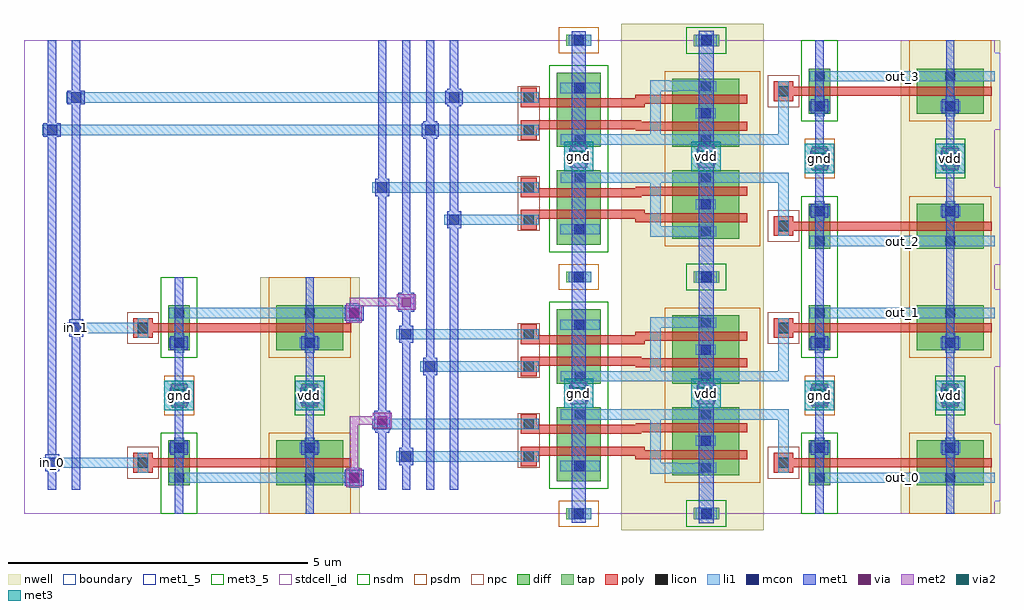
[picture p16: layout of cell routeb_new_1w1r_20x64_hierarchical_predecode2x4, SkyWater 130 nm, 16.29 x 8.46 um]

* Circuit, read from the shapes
.subckt routeb_new_1w1r_20x64_hierarchical_predecode2x4 gnd in_0 in_1 out_0 out_1 out_2 out_3 vdd
XM1 gnd in_0 routeb_new_1w1r_20x64_and2_dec_2/A gnd sky130_fd_pr__nfet_01v8 w=0.36 l=0.15
XM2 routeb_new_1w1r_20x64_and2_dec_2/B in_1 gnd gnd sky130_fd_pr__nfet_01v8 w=0.36 l=0.15
XM3 n1 routeb_new_1w1r_20x64_and2_dec_2/B gnd gnd sky130_fd_pr__nfet_01v8 w=0.74 l=0.15
XM4 routeb_new_1w1r_20x64_and2_dec_2/routeb_new_1w1r_20x64_pinv_dec_1/A routeb_new_1w1r_20x64_and2_dec_2/A n1 gnd sky130_fd_pr__nfet_01v8 w=0.74 l=0.15
XM5 n2 in_0 routeb_new_1w1r_20x64_and2_dec_3/routeb_new_1w1r_20x64_pinv_dec_1/A gnd sky130_fd_pr__nfet_01v8 w=0.74 l=0.15
XM6 gnd routeb_new_1w1r_20x64_and2_dec_2/B n2 gnd sky130_fd_pr__nfet_01v8 w=0.74 l=0.15
XM7 n3 in_1 gnd gnd sky130_fd_pr__nfet_01v8 w=0.74 l=0.15
XM8 routeb_new_1w1r_20x64_and2_dec_4/routeb_new_1w1r_20x64_pinv_dec_1/A routeb_new_1w1r_20x64_and2_dec_2/A n3 gnd sky130_fd_pr__nfet_01v8 w=0.74 l=0.15
XM9 n4 in_0 routeb_new_1w1r_20x64_and2_dec_5/routeb_new_1w1r_20x64_pinv_dec_1/A gnd sky130_fd_pr__nfet_01v8 w=0.74 l=0.15
XM10 gnd in_1 n4 gnd sky130_fd_pr__nfet_01v8 w=0.74 l=0.15
XM11 gnd routeb_new_1w1r_20x64_and2_dec_2/routeb_new_1w1r_20x64_pinv_dec_1/A out_0 gnd sky130_fd_pr__nfet_01v8 w=0.36 l=0.15
XM12 out_1 routeb_new_1w1r_20x64_and2_dec_3/routeb_new_1w1r_20x64_pinv_dec_1/A gnd gnd sky130_fd_pr__nfet_01v8 w=0.36 l=0.15
XM13 gnd routeb_new_1w1r_20x64_and2_dec_4/routeb_new_1w1r_20x64_pinv_dec_1/A out_2 gnd sky130_fd_pr__nfet_01v8 w=0.36 l=0.15
XM14 out_3 routeb_new_1w1r_20x64_and2_dec_5/routeb_new_1w1r_20x64_pinv_dec_1/A gnd gnd sky130_fd_pr__nfet_01v8 w=0.36 l=0.15
XM15 vdd in_0 routeb_new_1w1r_20x64_and2_dec_2/A vdd sky130_fd_pr__pfet_01v8 w=1.12 l=0.15
XM16 routeb_new_1w1r_20x64_and2_dec_2/B in_1 vdd vdd sky130_fd_pr__pfet_01v8 w=1.12 l=0.15
XM17 vdd routeb_new_1w1r_20x64_and2_dec_2/B routeb_new_1w1r_20x64_and2_dec_2/routeb_new_1w1r_20x64_pinv_dec_1/A vdd sky130_fd_pr__pfet_01v8 w=1.12 l=0.15
XM18 routeb_new_1w1r_20x64_and2_dec_2/routeb_new_1w1r_20x64_pinv_dec_1/A routeb_new_1w1r_20x64_and2_dec_2/A vdd vdd sky130_fd_pr__pfet_01v8 w=1.12 l=0.15
XM19 vdd in_0 routeb_new_1w1r_20x64_and2_dec_3/routeb_new_1w1r_20x64_pinv_dec_1/A vdd sky130_fd_pr__pfet_01v8 w=1.12 l=0.15
XM20 routeb_new_1w1r_20x64_and2_dec_3/routeb_new_1w1r_20x64_pinv_dec_1/A routeb_new_1w1r_20x64_and2_dec_2/B vdd vdd sky130_fd_pr__pfet_01v8 w=1.12 l=0.15
XM21 vdd in_1 routeb_new_1w1r_20x64_and2_dec_4/routeb_new_1w1r_20x64_pinv_dec_1/A vdd sky130_fd_pr__pfet_01v8 w=1.12 l=0.15
XM22 routeb_new_1w1r_20x64_and2_dec_4/routeb_new_1w1r_20x64_pinv_dec_1/A routeb_new_1w1r_20x64_and2_dec_2/A vdd vdd sky130_fd_pr__pfet_01v8 w=1.12 l=0.15
XM23 vdd in_0 routeb_new_1w1r_20x64_and2_dec_5/routeb_new_1w1r_20x64_pinv_dec_1/A vdd sky130_fd_pr__pfet_01v8 w=1.12 l=0.15
XM24 routeb_new_1w1r_20x64_and2_dec_5/routeb_new_1w1r_20x64_pinv_dec_1/A in_1 vdd vdd sky130_fd_pr__pfet_01v8 w=1.12 l=0.15
XM25 vdd routeb_new_1w1r_20x64_and2_dec_2/routeb_new_1w1r_20x64_pinv_dec_1/A out_0 vdd sky130_fd_pr__pfet_01v8 w=1.12 l=0.15
XM26 out_1 routeb_new_1w1r_20x64_and2_dec_3/routeb_new_1w1r_20x64_pinv_dec_1/A vdd vdd sky130_fd_pr__pfet_01v8 w=1.12 l=0.15
XM27 vdd routeb_new_1w1r_20x64_and2_dec_4/routeb_new_1w1r_20x64_pinv_dec_1/A out_2 vdd sky130_fd_pr__pfet_01v8 w=1.12 l=0.15
XM28 out_3 routeb_new_1w1r_20x64_and2_dec_5/routeb_new_1w1r_20x64_pinv_dec_1/A vdd vdd sky130_fd_pr__pfet_01v8 w=1.12 l=0.15
.ends

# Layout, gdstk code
from math import pi, radians
import gdstk
lib = gdstk.Library(unit=1e-6, precision=1e-09)
def R(c, l, rs):  # rectangles x0, y0, x1, y1
    for r in rs: c.add(gdstk.rectangle(r[:2], r[2:], *l))
def A(c, l, x, y, w, h, nx, ny, dx, dy):  # array of equal rectangles
    R(c, l, [(x+i*dx, y+j*dy, x+i*dx+w, y+j*dy+h) for i in range(nx) for j in range(ny)])
nwell = (64, 20)
diff = (65, 20)
tap = (65, 44)
poly = (66, 20)
licon = (66, 44)
li1 = (67, 20)
mcon = (67, 44)
met1_5 = (68, 5)
met1 = (68, 20)
via = (68, 44)
met2 = (69, 20)
via2 = (69, 44)
met3_5 = (70, 5)
met3 = (70, 20)
stdcell_id = (81, 4)
nsdm = (93, 44)
psdm = (94, 20)
npc = (95, 20)
boundary = (235, 4)

routeb_new_1w1r_20x64_co = lib.new_cell('routeb_new_1w1r_20x64_contact_11')
R(routeb_new_1w1r_20x64_co, nwell, [(-0.295,-0.255,0.545,0.585)])
R(routeb_new_1w1r_20x64_co, diff, [(0,0.02,0.25,0.31)])
R(routeb_new_1w1r_20x64_co, licon, [(0.04,0.08,0.21,0.25)])
R(routeb_new_1w1r_20x64_co, li1, [(0.04,0,0.21,0.33)])
R(routeb_new_1w1r_20x64_co, stdcell_id, [(-0.295,-0.255,0.545,0.585)])
R(routeb_new_1w1r_20x64_co, psdm, [(-0.125,-0.105,0.375,0.435)])
R(routeb_new_1w1r_20x64_co, boundary, [(-0.295,-0.255,0.545,0.585)])

routeb_new_1w1r_20x64_pm = lib.new_cell('routeb_new_1w1r_20x64_pmos_m1_w1_120_sli_dli_da_p')
R(routeb_new_1w1r_20x64_pm, nwell, [(-0.27,-0.27,1.02,1.39)])
R(routeb_new_1w1r_20x64_pm, diff, [(0,0,0.75,1.12)])
R(routeb_new_1w1r_20x64_pm, poly, [(0.3,-0.13,0.45,1.25), (0.3,-0.13,0.45,1.25)])
R(routeb_new_1w1r_20x64_pm, li1, [(0.04,0.395,0.21,0.725), (0.54,0.395,0.71,0.725)])
R(routeb_new_1w1r_20x64_pm, stdcell_id, [(-0.27,-0.27,1.02,1.39)])
R(routeb_new_1w1r_20x64_pm, psdm, [(-0.125,-0.125,0.875,1.245)])
R(routeb_new_1w1r_20x64_pm, boundary, [(-0.27,-0.27,1.02,1.39)])
routeb_new_1w1r_20x64_pm.add(gdstk.Reference(routeb_new_1w1r_20x64_co, (0,0.395)))
routeb_new_1w1r_20x64_pm.add(gdstk.Reference(routeb_new_1w1r_20x64_co, (0.5,0.395)))
routeb_new_1w1r_20x64_pm.add(gdstk.Label('G', (0.375,0.56), layer=66, texttype=5))
routeb_new_1w1r_20x64_pm.add(gdstk.Label('S', (0.125,0.56), layer=67, texttype=5))
routeb_new_1w1r_20x64_pm.add(gdstk.Label('D', (0.625,0.56), layer=67, texttype=5))

c_routeb_new_1w1r_20x64_co = lib.new_cell('routeb_new_1w1r_20x64_contact_10')
R(c_routeb_new_1w1r_20x64_co, diff, [(0,0.02,0.25,0.31)])
R(c_routeb_new_1w1r_20x64_co, licon, [(0.04,0.08,0.21,0.25)])
R(c_routeb_new_1w1r_20x64_co, li1, [(0.04,0,0.21,0.33)])
R(c_routeb_new_1w1r_20x64_co, stdcell_id, [(-0.125,-0.105,0.375,0.435)])
R(c_routeb_new_1w1r_20x64_co, nsdm, [(-0.125,-0.105,0.375,0.435)])
R(c_routeb_new_1w1r_20x64_co, boundary, [(-0.125,-0.105,0.375,0.435)])

routeb_new_1w1r_20x64_nm = lib.new_cell('routeb_new_1w1r_20x64_nmos_m1_w0_360_sli_dli_da_p')
R(routeb_new_1w1r_20x64_nm, diff, [(0,0,0.75,0.36)])
R(routeb_new_1w1r_20x64_nm, poly, [(0.3,-0.13,0.45,0.49), (0.3,-0.13,0.45,0.49)])
R(routeb_new_1w1r_20x64_nm, li1, [(0.04,0.015,0.21,0.345), (0.54,0.015,0.71,0.345)])
R(routeb_new_1w1r_20x64_nm, stdcell_id, [(-0.125,-0.13,0.875,0.49)])
R(routeb_new_1w1r_20x64_nm, nsdm, [(-0.125,-0.125,0.875,0.485)])
R(routeb_new_1w1r_20x64_nm, boundary, [(-0.125,-0.13,0.875,0.49)])
routeb_new_1w1r_20x64_nm.add(gdstk.Reference(c_routeb_new_1w1r_20x64_co, (0,0.015)))
routeb_new_1w1r_20x64_nm.add(gdstk.Reference(c_routeb_new_1w1r_20x64_co, (0.5,0.015)))
routeb_new_1w1r_20x64_nm.add(gdstk.Label('G', (0.375,0.18), layer=66, texttype=5))
routeb_new_1w1r_20x64_nm.add(gdstk.Label('S', (0.125,0.18), layer=67, texttype=5))
routeb_new_1w1r_20x64_nm.add(gdstk.Label('D', (0.625,0.18), layer=67, texttype=5))

c_routeb_new_1w1r_20x64_co_ = lib.new_cell('routeb_new_1w1r_20x64_contact_12')
R(c_routeb_new_1w1r_20x64_co_, nwell, [(-0.295,-0.215,0.545,0.625)])
R(c_routeb_new_1w1r_20x64_co_, tap, [(0,0,0.25,0.41)])
R(c_routeb_new_1w1r_20x64_co_, licon, [(0.04,0.12,0.21,0.29)])
R(c_routeb_new_1w1r_20x64_co_, li1, [(0.04,0.04,0.21,0.37)])
R(c_routeb_new_1w1r_20x64_co_, stdcell_id, [(-0.295,-0.215,0.545,0.625)])
R(c_routeb_new_1w1r_20x64_co_, nsdm, [(-0.125,-0.125,0.375,0.535)])
R(c_routeb_new_1w1r_20x64_co_, boundary, [(-0.295,-0.215,0.545,0.625)])

c_routeb_new_1w1r_20x64_co__ = lib.new_cell('routeb_new_1w1r_20x64_contact_13')
R(c_routeb_new_1w1r_20x64_co__, li1, [(0.06,0,0.23,0.33)])
R(c_routeb_new_1w1r_20x64_co__, mcon, [(0.06,0.08,0.23,0.25)])
R(c_routeb_new_1w1r_20x64_co__, met1, [(0,0.05,0.29,0.28)])
R(c_routeb_new_1w1r_20x64_co__, stdcell_id, [(0,0,0.29,0.33)])
R(c_routeb_new_1w1r_20x64_co__, boundary, [(0,0,0.29,0.33)])

c_routeb_new_1w1r_20x64_co___ = lib.new_cell('routeb_new_1w1r_20x64_contact_14')
R(c_routeb_new_1w1r_20x64_co___, tap, [(0,0,0.25,0.41)])
R(c_routeb_new_1w1r_20x64_co___, licon, [(0.04,0.12,0.21,0.29)])
R(c_routeb_new_1w1r_20x64_co___, li1, [(0.04,0.04,0.21,0.37)])
R(c_routeb_new_1w1r_20x64_co___, stdcell_id, [(-0.125,-0.125,0.375,0.535)])
R(c_routeb_new_1w1r_20x64_co___, psdm, [(-0.125,-0.125,0.375,0.535)])
R(c_routeb_new_1w1r_20x64_co___, boundary, [(-0.125,-0.125,0.375,0.535)])

c_routeb_new_1w1r_20x64_co____ = lib.new_cell('routeb_new_1w1r_20x64_contact_15')
R(c_routeb_new_1w1r_20x64_co____, poly, [(0,0,0.33,0.33)])
R(c_routeb_new_1w1r_20x64_co____, licon, [(0.08,0.08,0.25,0.25)])
R(c_routeb_new_1w1r_20x64_co____, li1, [(0.08,0,0.25,0.33)])
R(c_routeb_new_1w1r_20x64_co____, stdcell_id, [(-0.1,-0.1,0.43,0.43)])
R(c_routeb_new_1w1r_20x64_co____, npc, [(-0.1,-0.1,0.43,0.43)])
R(c_routeb_new_1w1r_20x64_co____, boundary, [(-0.1,-0.1,0.43,0.43)])

routeb_new_1w1r_20x64_pi = lib.new_cell('routeb_new_1w1r_20x64_pinv_dec')
R(routeb_new_1w1r_20x64_pi, nwell, [(2.34,0,4,2.45)])
R(routeb_new_1w1r_20x64_pi, poly, [(0.385,0.775,0.68,0.925), (1.3,0.775,2.48,0.925)])
R(routeb_new_1w1r_20x64_pi, li1, [(0.825,0.515,3.91,0.685), (0.3,0.685,0.47,1.015)])
R(routeb_new_1w1r_20x64_pi, met1_5, [(0.92,0,1.06,1.975), (3.1,0,3.24,1.975)])
R(routeb_new_1w1r_20x64_pi, met1, [(0.92,0,1.06,1.975), (3.1,0,3.24,1.975)])
R(routeb_new_1w1r_20x64_pi, stdcell_id, [(0,0,3.91,1.975), (0,0,3.91,1.975)])
R(routeb_new_1w1r_20x64_pi, nsdm, [(0.685,0,1.295,1.225)])
R(routeb_new_1w1r_20x64_pi, psdm, [(2.485,0,3.855,1.225)])
R(routeb_new_1w1r_20x64_pi, boundary, [(0,0,3.91,1.975), (0,0,3.91,1.975)])
routeb_new_1w1r_20x64_pi.add(gdstk.Reference(routeb_new_1w1r_20x64_pm, (2.61,1.225), rotation=3*pi/2))
routeb_new_1w1r_20x64_pi.add(gdstk.Reference(routeb_new_1w1r_20x64_nm, (0.81,1.225), rotation=3*pi/2))
routeb_new_1w1r_20x64_pi.add(gdstk.Reference(c_routeb_new_1w1r_20x64_co_, (3.045,1.77)))
routeb_new_1w1r_20x64_pi.add(gdstk.Reference(c_routeb_new_1w1r_20x64_co__, (3.025,1.81)))
routeb_new_1w1r_20x64_pi.add(gdstk.Reference(c_routeb_new_1w1r_20x64_co___, (0.865,1.77)))
routeb_new_1w1r_20x64_pi.add(gdstk.Reference(c_routeb_new_1w1r_20x64_co__, (0.845,1.81)))
routeb_new_1w1r_20x64_pi.add(gdstk.Reference(c_routeb_new_1w1r_20x64_co____, (0.22,0.685)))
routeb_new_1w1r_20x64_pi.add(gdstk.Reference(c_routeb_new_1w1r_20x64_co__, (0.845,0.935)))
routeb_new_1w1r_20x64_pi.add(gdstk.Reference(c_routeb_new_1w1r_20x64_co__, (3.025,0.935)))
routeb_new_1w1r_20x64_pi.add(gdstk.Label('A', (0.385,0.85), layer=67, texttype=5))
routeb_new_1w1r_20x64_pi.add(gdstk.Label('Z', (2.368,0.6), layer=67, texttype=5))
routeb_new_1w1r_20x64_pi.add(gdstk.Label('gnd', (0.99,0.988), layer=68, texttype=5))
routeb_new_1w1r_20x64_pi.add(gdstk.Label('vdd', (3.17,0.988), layer=68, texttype=5))

sky130_fd_bd_sram__openr = lib.new_cell('sky130_fd_bd_sram__openram_dp_nand2_dec')
R(sky130_fd_bd_sram__openr, nwell, [(2.06,-0.28,4.44,2.38)])
R(sky130_fd_bd_sram__openr, diff, [(0.98,0.54,1.72,1.78), (2.91,0.64,4.03,1.78)])
R(sky130_fd_bd_sram__openr, tap, [(3.27,-0.095,3.69,0.095), (1.14,-0.09,1.56,0.09)])
R(sky130_fd_bd_sram__openr, poly, [(0.38,0.79,0.65,0.97), (2.29,0.91,4.16,0.97), (0.38,0.97,4.16,1.06), (0.38,1.06,2.45,1.12), (0.38,1.33,2.39,1.36), (0.38,1.36,4.16,1.48), (0.38,1.48,0.65,1.66), (2.3,1.48,4.16,1.51)])
R(sky130_fd_bd_sram__openr, licon, [(1.265,-0.085,1.435,0.085), (3.395,-0.085,3.565,0.085), (3.385,0.68,3.555,0.85), (1.295,0.71,1.465,0.88), (0.43,0.87,0.6,1.04), (3.385,1.13,3.555,1.3), (0.43,1.41,0.6,1.58), (1.285,1.57,1.455,1.74), (3.385,1.57,3.555,1.74)])
R(sky130_fd_bd_sram__openr, li1, [(3.3,-0.095,3.65,0.095), (1.18,-0.09,1.56,0.09), (2.545,0.67,2.86,0.675), (2.545,0.675,3.425,0.68), (2.545,0.68,3.64,0.845), (1.04,0.71,1.7,0.88), (2.545,0.845,2.99,0.85), (3.3,0.845,3.64,0.85), (2.545,0.85,2.715,1.57), (0.35,0.87,0.68,1.04), (0.35,0.87,0.68,1.04), (3.3,1.13,3.635,1.3), (0.35,1.41,0.68,1.58), (0.35,1.41,0.68,1.58), (1.05,1.57,4.44,1.74), (1.05,1.57,4.44,1.74)])
R(sky130_fd_bd_sram__openr, mcon, [(1.265,-0.085,1.435,0.085), (3.395,-0.085,3.565,0.085), (1.27,0.71,1.44,0.88), (3.385,1.13,3.555,1.3)])
R(sky130_fd_bd_sram__openr, met1_5, [(3.35,-0.16,3.6,2.01), (1.23,-0.15,1.47,2.01)])
R(sky130_fd_bd_sram__openr, met1, [(3.35,-0.16,3.6,2.01), (3.35,-0.16,3.6,2.01), (1.23,-0.15,1.47,2.01), (1.23,-0.15,1.47,2.01)])
R(sky130_fd_bd_sram__openr, nsdm, [(3.145,-0.22,3.815,0.22), (0.855,0.415,1.845,1.975)])
R(sky130_fd_bd_sram__openr, psdm, [(1.015,-0.215,1.685,0.215), (2.785,0.515,4.38,1.975)])
R(sky130_fd_bd_sram__openr, npc, [(0.33,0.77,0.7,1.68)])
R(sky130_fd_bd_sram__openr, boundary, [(0,0,4.38,1.975)])
sky130_fd_bd_sram__openr.add(gdstk.Label('GND', (1.34,0.41), layer=68, texttype=16))
sky130_fd_bd_sram__openr.add(gdstk.Label('VDD', (3.48,0.47), layer=68, texttype=16))
sky130_fd_bd_sram__openr.add(gdstk.Label('B', (0.515,0.955), layer=67, texttype=16))
sky130_fd_bd_sram__openr.add(gdstk.Label('A', (0.515,1.495), layer=67, texttype=16))
sky130_fd_bd_sram__openr.add(gdstk.Label('Z', (4.27,1.655), layer=67, texttype=16))
sky130_fd_bd_sram__openr.add(gdstk.Label('A', (0.515,1.495), layer=67, texttype=5))
sky130_fd_bd_sram__openr.add(gdstk.Label('B', (0.515,0.955), layer=67, texttype=5))
sky130_fd_bd_sram__openr.add(gdstk.Label('Z', (2.745,1.655), layer=67, texttype=5))
sky130_fd_bd_sram__openr.add(gdstk.Label('vdd', (3.475,0.925), layer=68, texttype=5))
sky130_fd_bd_sram__openr.add(gdstk.Label('gnd', (1.35,0.93), layer=68, texttype=5))

routeb_new_1w1r_20x64_an = lib.new_cell('routeb_new_1w1r_20x64_and2_dec')
R(routeb_new_1w1r_20x64_an, li1, [(5.205,0.515,8.29,0.685), (4.68,0.85,4.85,1.655), (0.35,0.87,0.68,1.04), (0.35,1.41,0.68,1.58), (2.745,1.57,4.765,1.74), (4.68,1.57,4.85,1.74)])
R(routeb_new_1w1r_20x64_an, met1_5, [(3.35,-0.16,3.6,2.01), (1.23,-0.15,1.47,2.01), (5.3,0,5.44,1.975), (7.48,0,7.62,1.975)])
R(routeb_new_1w1r_20x64_an, met1, [(3.35,-0.16,3.6,2.01), (1.23,-0.15,1.47,2.01), (5.3,0,5.44,1.975), (7.48,0,7.62,1.975)])
R(routeb_new_1w1r_20x64_an, stdcell_id, [(0,0,8.29,1.975)])
R(routeb_new_1w1r_20x64_an, boundary, [(0,0,8.29,1.975)])
routeb_new_1w1r_20x64_an.add(gdstk.Reference(sky130_fd_bd_sram__openr, (0,0)))
routeb_new_1w1r_20x64_an.add(gdstk.Reference(routeb_new_1w1r_20x64_pi, (4.38,0)))
routeb_new_1w1r_20x64_an.add(gdstk.Label('Z', (6.748,0.6), layer=67, texttype=5))
routeb_new_1w1r_20x64_an.add(gdstk.Label('A', (0.515,1.495), layer=67, texttype=5))
routeb_new_1w1r_20x64_an.add(gdstk.Label('B', (0.515,0.955), layer=67, texttype=5))
routeb_new_1w1r_20x64_an.add(gdstk.Label('vdd', (7.55,0.988), layer=68, texttype=5))
routeb_new_1w1r_20x64_an.add(gdstk.Label('vdd', (3.475,0.925), layer=68, texttype=5))
routeb_new_1w1r_20x64_an.add(gdstk.Label('gnd', (5.37,0.988), layer=68, texttype=5))
routeb_new_1w1r_20x64_an.add(gdstk.Label('gnd', (1.35,0.93), layer=68, texttype=5))

c_routeb_new_1w1r_20x64_co_____ = lib.new_cell('routeb_new_1w1r_20x64_contact_16')
R(c_routeb_new_1w1r_20x64_co_____, li1, [(0,0.06,0.33,0.23)])
R(c_routeb_new_1w1r_20x64_co_____, mcon, [(0.08,0.06,0.25,0.23)])
R(c_routeb_new_1w1r_20x64_co_____, met1, [(0.05,0,0.28,0.29)])
R(c_routeb_new_1w1r_20x64_co_____, stdcell_id, [(0,0,0.33,0.29)])
R(c_routeb_new_1w1r_20x64_co_____, boundary, [(0,0,0.33,0.29)])

c_routeb_new_1w1r_20x64_co______ = lib.new_cell('routeb_new_1w1r_20x64_contact_18')
R(c_routeb_new_1w1r_20x64_co______, met1, [(0,0.03,0.32,0.29)])
R(c_routeb_new_1w1r_20x64_co______, via, [(0.085,0.085,0.235,0.235)])
R(c_routeb_new_1w1r_20x64_co______, met2, [(0.03,0,0.29,0.32)])
R(c_routeb_new_1w1r_20x64_co______, stdcell_id, [(0,0,0.32,0.32)])
R(c_routeb_new_1w1r_20x64_co______, boundary, [(0,0,0.32,0.32)])

c_routeb_new_1w1r_20x64_co_______ = lib.new_cell('routeb_new_1w1r_20x64_contact_19')
R(c_routeb_new_1w1r_20x64_co_______, met1, [(0.03,0,0.29,0.32)])
R(c_routeb_new_1w1r_20x64_co_______, via, [(0.085,0.085,0.235,0.235)])
R(c_routeb_new_1w1r_20x64_co_______, met2, [(0,0.03,0.32,0.29)])
R(c_routeb_new_1w1r_20x64_co_______, stdcell_id, [(0,0,0.32,0.32)])
R(c_routeb_new_1w1r_20x64_co_______, boundary, [(0,0,0.32,0.32)])

c_routeb_new_1w1r_20x64_co________ = lib.new_cell('routeb_new_1w1r_20x64_contact_20')
R(c_routeb_new_1w1r_20x64_co________, li1, [(0,0.03,0.33,0.2)])
R(c_routeb_new_1w1r_20x64_co________, mcon, [(0.08,0.03,0.25,0.2)])
R(c_routeb_new_1w1r_20x64_co________, met1, [(0.02,0,0.31,0.23)])
R(c_routeb_new_1w1r_20x64_co________, stdcell_id, [(0,0,0.33,0.23)])
R(c_routeb_new_1w1r_20x64_co________, boundary, [(0,0,0.33,0.23)])

c_routeb_new_1w1r_20x64_co_________ = lib.new_cell('routeb_new_1w1r_20x64_contact_21')
R(c_routeb_new_1w1r_20x64_co_________, met2, [(0.025,0,0.305,0.37)])
R(c_routeb_new_1w1r_20x64_co_________, via2, [(0.065,0.085,0.265,0.285)])
R(c_routeb_new_1w1r_20x64_co_________, met3, [(0,0.02,0.33,0.35)])
R(c_routeb_new_1w1r_20x64_co_________, stdcell_id, [(0,0,0.33,0.37)])
R(c_routeb_new_1w1r_20x64_co_________, boundary, [(0,0,0.33,0.37)])

routeb_new_1w1r_20x64_hi = lib.new_cell('routeb_new_1w1r_20x64_hierarchical_predecode2x4')
R(routeb_new_1w1r_20x64_hi, li1, [(13.115,0.515,16.2,0.685), (0.47,0.765,1.985,0.935), (1.9,0.765,2.07,0.935), (6.38,0.87,8.425,1.04), (8.34,0.87,8.51,1.04), (5.98,1.41,8.425,1.58), (8.34,1.41,8.51,1.58), (6.78,2.37,8.425,2.54), (8.34,2.37,8.51,2.54), (6.38,2.91,8.425,3.08), (8.34,2.91,8.51,3.08), (0.87,3.015,1.985,3.185), (1.9,3.015,2.07,3.185), (13.115,3.265,16.2,3.435), (13.115,4.465,16.2,4.635), (7.18,4.82,8.425,4.99), (8.34,4.82,8.51,4.99), (5.98,5.36,8.425,5.53), (8.34,5.36,8.51,5.53), (0.47,6.32,6.78,6.49), (6.78,6.32,8.425,6.49), (8.34,6.32,8.51,6.49), (0.87,6.86,7.18,7.03), (7.18,6.86,8.425,7.03), (8.34,6.86,8.51,7.03), (13.115,7.215,16.2,7.385)])
R(routeb_new_1w1r_20x64_hi, met1_5, [(0.355,0.705,0.585,0.995), (0.755,2.955,0.985,3.245)])
A(routeb_new_1w1r_20x64_hi, met1, 5.91, 0.4, 0.14, 7.5, 4, 1, 0.4, 0)
R(routeb_new_1w1r_20x64_hi, met1, [(0.4,0.4,0.54,7.9), (0.8,0.4,0.94,7.9), (2.52,0.4,2.66,3.95), (4.7,0.4,4.84,3.95), (9.14,0.4,9.38,8.05), (11.26,0.4,11.51,8.06), (13.21,0.4,13.35,7.9), (15.39,0.4,15.53,7.9), (5.35,0.47,5.67,0.73), (0.355,0.705,0.585,0.995), (0.755,2.955,0.985,3.245), (5.35,3.22,5.67,3.48)])
R(routeb_new_1w1r_20x64_hi, met2, [(5.44,0.6,5.58,1.555), (5.44,1.485,5.58,1.625), (5.51,1.485,5.98,1.625), (2.45,1.85,2.73,2.095), (2.45,1.85,2.73,2.095), (4.63,1.85,4.91,2.095), (4.63,1.85,4.91,2.095), (13.14,1.85,13.42,2.095), (15.32,1.85,15.6,2.095), (9.12,1.89,9.4,2.135), (11.245,1.89,11.525,2.135), (5.44,3.35,5.58,3.53), (5.44,3.46,5.58,3.6), (5.51,3.46,6.38,3.6), (13.14,5.8,13.42,6.045), (15.32,5.8,15.6,6.045), (9.12,5.84,9.4,6.085), (11.245,5.84,11.525,6.085)])
R(routeb_new_1w1r_20x64_hi, met3_5, [(2.345,1.73,2.835,2.22), (4.525,1.73,5.015,2.22), (13.035,1.73,13.525,2.22), (15.215,1.73,15.705,2.22), (9.015,1.765,9.505,2.255), (11.14,1.765,11.63,2.255), (13.035,5.68,13.525,6.17), (15.215,5.68,15.705,6.17), (9.015,5.715,9.505,6.205), (11.14,5.715,11.63,6.205)])
R(routeb_new_1w1r_20x64_hi, met3, [(2.345,1.73,2.835,2.22), (4.525,1.73,5.015,2.22), (13.035,1.73,13.525,2.22), (15.215,1.73,15.705,2.22), (9.015,1.765,9.505,2.255), (11.14,1.765,11.63,2.255), (13.035,5.68,13.525,6.17), (15.215,5.68,15.705,6.17), (9.015,5.715,9.505,6.205), (11.14,5.715,11.63,6.205)])
R(routeb_new_1w1r_20x64_hi, stdcell_id, [(0,0,16.2,7.9)])
R(routeb_new_1w1r_20x64_hi, boundary, [(0,0,16.2,7.9)])
routeb_new_1w1r_20x64_hi.add(gdstk.Reference(routeb_new_1w1r_20x64_pi, (1.6,0)))
routeb_new_1w1r_20x64_hi.add(gdstk.Reference(routeb_new_1w1r_20x64_pi, (1.6,3.95), x_reflection=True))
routeb_new_1w1r_20x64_hi.add(gdstk.Reference(routeb_new_1w1r_20x64_an, (7.91,0)))
routeb_new_1w1r_20x64_hi.add(gdstk.Reference(routeb_new_1w1r_20x64_an, (7.91,3.95), x_reflection=True))
routeb_new_1w1r_20x64_hi.add(gdstk.Reference(routeb_new_1w1r_20x64_an, (7.91,3.95)))
routeb_new_1w1r_20x64_hi.add(gdstk.Reference(routeb_new_1w1r_20x64_an, (7.91,7.9), x_reflection=True))
routeb_new_1w1r_20x64_hi.add(gdstk.Reference(c_routeb_new_1w1r_20x64_co_____, (0.305,0.705)))
routeb_new_1w1r_20x64_hi.add(gdstk.Reference(c_routeb_new_1w1r_20x64_co_____, (0.705,2.955)))
routeb_new_1w1r_20x64_hi.add(gdstk.Reference(c_routeb_new_1w1r_20x64_co_____, (5.815,1.35)))
routeb_new_1w1r_20x64_hi.add(gdstk.Reference(c_routeb_new_1w1r_20x64_co_____, (6.215,0.81)))
routeb_new_1w1r_20x64_hi.add(gdstk.Reference(c_routeb_new_1w1r_20x64_co_____, (6.615,2.31)))
routeb_new_1w1r_20x64_hi.add(gdstk.Reference(c_routeb_new_1w1r_20x64_co_____, (6.215,2.85)))
routeb_new_1w1r_20x64_hi.add(gdstk.Reference(c_routeb_new_1w1r_20x64_co_____, (5.815,5.3)))
routeb_new_1w1r_20x64_hi.add(gdstk.Reference(c_routeb_new_1w1r_20x64_co_____, (7.015,4.76)))
routeb_new_1w1r_20x64_hi.add(gdstk.Reference(c_routeb_new_1w1r_20x64_co_____, (6.615,6.26)))
routeb_new_1w1r_20x64_hi.add(gdstk.Reference(c_routeb_new_1w1r_20x64_co_____, (7.015,6.8)))
routeb_new_1w1r_20x64_hi.add(gdstk.Reference(c_routeb_new_1w1r_20x64_co__, (5.365,0.435)))
routeb_new_1w1r_20x64_hi.add(gdstk.Reference(c_routeb_new_1w1r_20x64_co______, (5.35,0.44)))
routeb_new_1w1r_20x64_hi.add(gdstk.Reference(c_routeb_new_1w1r_20x64_co_______, (5.82,1.395)))
routeb_new_1w1r_20x64_hi.add(gdstk.Reference(c_routeb_new_1w1r_20x64_co__, (5.365,3.185)))
routeb_new_1w1r_20x64_hi.add(gdstk.Reference(c_routeb_new_1w1r_20x64_co______, (5.35,3.19)))
routeb_new_1w1r_20x64_hi.add(gdstk.Reference(c_routeb_new_1w1r_20x64_co_______, (6.22,3.37)))
routeb_new_1w1r_20x64_hi.add(gdstk.Reference(c_routeb_new_1w1r_20x64_co________, (0.305,6.29)))
routeb_new_1w1r_20x64_hi.add(gdstk.Reference(c_routeb_new_1w1r_20x64_co________, (6.615,6.29)))
routeb_new_1w1r_20x64_hi.add(gdstk.Reference(c_routeb_new_1w1r_20x64_co________, (0.705,6.83)))
routeb_new_1w1r_20x64_hi.add(gdstk.Reference(c_routeb_new_1w1r_20x64_co________, (7.015,6.83)))
routeb_new_1w1r_20x64_hi.add(gdstk.Reference(c_routeb_new_1w1r_20x64_co______, (4.61,1.815)))
routeb_new_1w1r_20x64_hi.add(gdstk.Reference(c_routeb_new_1w1r_20x64_co_________, (4.605,1.79)))
routeb_new_1w1r_20x64_hi.add(gdstk.Reference(c_routeb_new_1w1r_20x64_co______, (4.61,1.815)))
routeb_new_1w1r_20x64_hi.add(gdstk.Reference(c_routeb_new_1w1r_20x64_co_________, (4.605,1.79)))
routeb_new_1w1r_20x64_hi.add(gdstk.Reference(c_routeb_new_1w1r_20x64_co______, (11.225,1.85)))
routeb_new_1w1r_20x64_hi.add(gdstk.Reference(c_routeb_new_1w1r_20x64_co_________, (11.22,1.825)))
routeb_new_1w1r_20x64_hi.add(gdstk.Reference(c_routeb_new_1w1r_20x64_co______, (15.3,1.815)))
routeb_new_1w1r_20x64_hi.add(gdstk.Reference(c_routeb_new_1w1r_20x64_co_________, (15.295,1.79)))
routeb_new_1w1r_20x64_hi.add(gdstk.Reference(c_routeb_new_1w1r_20x64_co______, (11.225,5.8)))
routeb_new_1w1r_20x64_hi.add(gdstk.Reference(c_routeb_new_1w1r_20x64_co_________, (11.22,5.775)))
routeb_new_1w1r_20x64_hi.add(gdstk.Reference(c_routeb_new_1w1r_20x64_co______, (15.3,5.765)))
routeb_new_1w1r_20x64_hi.add(gdstk.Reference(c_routeb_new_1w1r_20x64_co_________, (15.295,5.74)))
routeb_new_1w1r_20x64_hi.add(gdstk.Reference(c_routeb_new_1w1r_20x64_co______, (2.43,1.815)))
routeb_new_1w1r_20x64_hi.add(gdstk.Reference(c_routeb_new_1w1r_20x64_co_________, (2.425,1.79)))
routeb_new_1w1r_20x64_hi.add(gdstk.Reference(c_routeb_new_1w1r_20x64_co______, (2.43,1.815)))
routeb_new_1w1r_20x64_hi.add(gdstk.Reference(c_routeb_new_1w1r_20x64_co_________, (2.425,1.79)))
routeb_new_1w1r_20x64_hi.add(gdstk.Reference(c_routeb_new_1w1r_20x64_co______, (13.12,1.815)))
routeb_new_1w1r_20x64_hi.add(gdstk.Reference(c_routeb_new_1w1r_20x64_co_________, (13.115,1.79)))
routeb_new_1w1r_20x64_hi.add(gdstk.Reference(c_routeb_new_1w1r_20x64_co______, (9.1,1.85)))
routeb_new_1w1r_20x64_hi.add(gdstk.Reference(c_routeb_new_1w1r_20x64_co_________, (9.095,1.825)))
routeb_new_1w1r_20x64_hi.add(gdstk.Reference(c_routeb_new_1w1r_20x64_co______, (13.12,5.765)))
routeb_new_1w1r_20x64_hi.add(gdstk.Reference(c_routeb_new_1w1r_20x64_co_________, (13.115,5.74)))
routeb_new_1w1r_20x64_hi.add(gdstk.Reference(c_routeb_new_1w1r_20x64_co______, (9.1,5.8)))
routeb_new_1w1r_20x64_hi.add(gdstk.Reference(c_routeb_new_1w1r_20x64_co_________, (9.095,5.775)))
routeb_new_1w1r_20x64_hi.add(gdstk.Label('in_0', (0.47,0.85), layer=68, texttype=5))
routeb_new_1w1r_20x64_hi.add(gdstk.Label('in_1', (0.87,3.1), layer=68, texttype=5))
routeb_new_1w1r_20x64_hi.add(gdstk.Label('out_0', (14.657,0.6), layer=67, texttype=5))
routeb_new_1w1r_20x64_hi.add(gdstk.Label('out_1', (14.657,3.35), layer=67, texttype=5))
routeb_new_1w1r_20x64_hi.add(gdstk.Label('out_2', (14.657,4.55), layer=67, texttype=5))
routeb_new_1w1r_20x64_hi.add(gdstk.Label('out_3', (14.657,7.3), layer=67, texttype=5))
routeb_new_1w1r_20x64_hi.add(gdstk.Label('vdd', (11.385,2.01), layer=70, texttype=5))
routeb_new_1w1r_20x64_hi.add(gdstk.Label('vdd', (4.77,1.975), layer=70, texttype=5))
routeb_new_1w1r_20x64_hi.add(gdstk.Label('vdd', (15.46,1.975), layer=70, texttype=5))
routeb_new_1w1r_20x64_hi.add(gdstk.Label('vdd', (15.46,5.925), layer=70, texttype=5))
routeb_new_1w1r_20x64_hi.add(gdstk.Label('vdd', (11.385,5.96), layer=70, texttype=5))
routeb_new_1w1r_20x64_hi.add(gdstk.Label('gnd', (13.28,1.975), layer=70, texttype=5))
routeb_new_1w1r_20x64_hi.add(gdstk.Label('gnd', (9.26,5.96), layer=70, texttype=5))
routeb_new_1w1r_20x64_hi.add(gdstk.Label('gnd', (13.28,5.925), layer=70, texttype=5))
routeb_new_1w1r_20x64_hi.add(gdstk.Label('gnd', (9.26,2.01), layer=70, texttype=5))
routeb_new_1w1r_20x64_hi.add(gdstk.Label('gnd', (2.59,1.975), layer=70, texttype=5))

lib.write_gds('routeb_new_1w1r_20x64_hierarchical_predecode2x4.gds')
